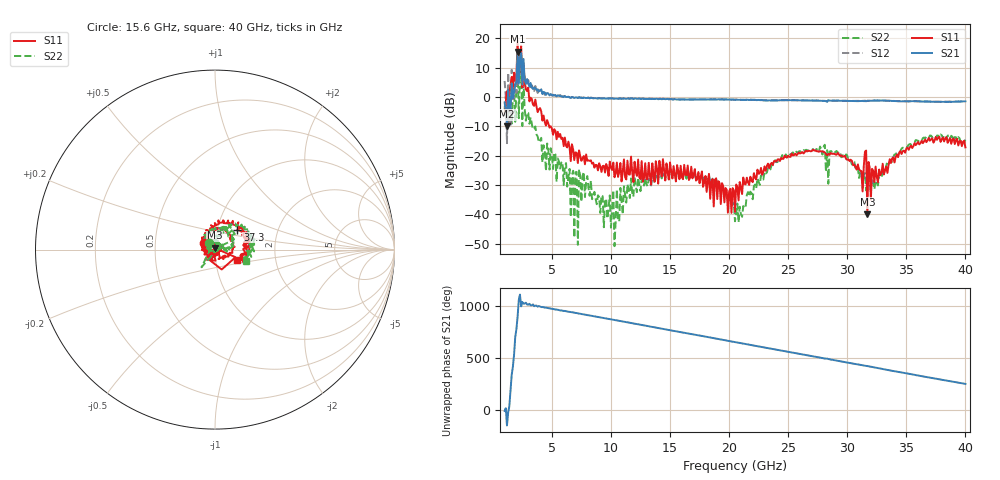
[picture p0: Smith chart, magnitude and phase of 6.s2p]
!Keysight Technologies,N5224A,MY55441802,A.10.65.16
!Date: Wednesday, May 13, 2026 18:42:49
!Correction: S11(Full 2 Port(1,2))
!S21(Full 2 Port(1,2))
!S12(Full 2 Port(1,2))
!S22(Full 2 Port(1,2))
!S2P File: Measurements: S11, S21, S12, S22:
# Hz S  dB  R 50
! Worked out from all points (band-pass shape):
!   391 points, 1 GHz to 40 GHz, reference 50 ohm
!   highest |S21| = 15.42 dB at 2.1 GHz (marker M1); lowest = -10.0 dB at 1.2 GHz (marker M2)
!   |S21| within 3 dB of the highest: 2.071 GHz to 2.128 GHz (56.3 MHz wide, 2.68 % of centre); 2.287 GHz to 2.424 GHz (137.3 MHz wide, 5.83 % of centre)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
!   lowest |S11| = -40.0 dB at 31.7 GHz (marker M3), VSWR 1.02, Z = 49.8 + j0.981 ohm
!   |S11| at or under -10 dB: 4.768 GHz to 4.896 GHz (127.1 MHz wide, 2.63 % of centre); 4.903 GHz to end of sweep
!   |S22| runs from -50.9 to 13.2 dB; largest |S21 - S12| = 2.2
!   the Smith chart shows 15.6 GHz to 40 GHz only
!   S11 on the Smith chart (normalised r, x): 15.6 GHz: 0.89, +0.06; 37.3 GHz: 1.25, +0.29; 40 GHz: 1.27, -0.16
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1e9  -6.00 -80.3  -1.86 -4.8  5.46 1.7  -4.13 -42.6
1.2e9  1.94 -0.6  -9.99 -143.8  -15.75 -82.8  -0.16 -26.8
1.6e9  6.87 -24.1  4.66 -19.5  9.27 -12.8  -9.11 4.2
1.7e9  3.11 156.8  -0.42 57.4  -0.72 12.8  0.49 21.8
1.8e9  8.29 -10.1  1.59 170.8  -0.30 172.3  3.56 -34.9
2e9  7.32 148.4  4.99 57.9  1.43 28.1  2.94 8.5
2.1e9  19.29 -1.4  15.42 177.6  14.83 170.3  13.19 -21.4
2.2e9  5.86 -38.6  4.53 -24.5  6.86 -24.6  -7.23 31.7
2.3e9  13.52 103.0  13.60 28.2  8.86 12.6  8.32 -29.2
2.4e9  17.51 96.1  15.04 -84.9  15.16 -91.1  10.21 74.4
2.5e9  3.26 -60.4  4.29 -42.9  5.62 -44.0  -9.94 -6.7
2.6e9  11.33 6.3  12.97 -58.8  9.11 -63.1  4.73 -129.9
2.7e9  4.99 127.3  5.70 -57.3  6.67 -62.5  -4.06 107.3
7.5e9  -21.78 -5.9  -0.26 -158.3  -0.17 -157.7  -35.73 -19.9
1.4e10  -29.54 168.3  -0.77 67.9  -0.74 67.9  -28.18 176.7
1.56e10  -23.25 148.8  -0.87 34.9  -0.76 34.5  -25.67 130.6
2.05e10  -39.18 -67.1  -0.98 -66.6  -0.88 -66.7  -42.40 0.9
2.7e10  -18.47 68.6  -1.20 159.2  -1.17 159.0  -17.86 65.9
3.17e10  -39.97 101.1  -1.30 64.2  -1.27 63.6  -31.15 4.5
3.35e10  -23.14 141.1  -1.29 25.2  -1.26 24.9  -22.80 80.6
3.73e10  -15.55 41.8  -1.60 -52.3  -1.63 -52.5  -13.23 22.0
4e10  -17.20 -25.7  -1.47 -106.8  -1.52 -107.5  -14.57 -20.4
